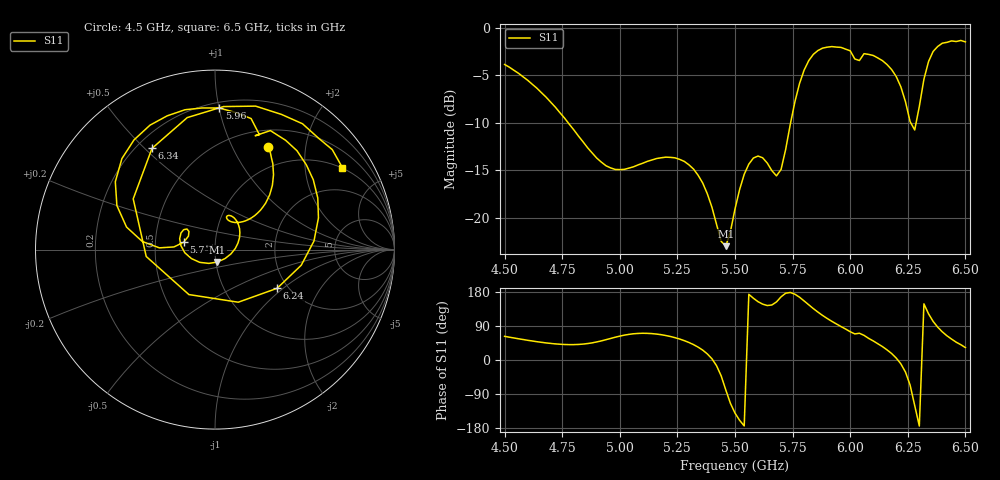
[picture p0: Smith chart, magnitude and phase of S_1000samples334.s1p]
! TOUCHSTONE file generated by CST MICROWAVE STUDIO
! Date and time: Thu Oct 27 19:47:11 2022
! Project name: L.cst
! Parameters = {Di=1.27; Epsilon_r=1.56; InnerDiameter=1.27; Length=2; Lf=10; Lg=60; OuterConductorThickness=0.2921; OuterDiameter=3.6; Wf=3; Wp=41.2; de=1.5; df=6.8; g=0.8; gx=1.51494; gy=2.69219; h=2.34; hf=1.524; px=13.3775; py=9.80388; w=9.7; wx=11.8625; wy=7.11169}
! Header version: 2018
! Port assignment regex: !\s*Touchstone port\s*([0-9]+)\s*=\s*(CST MWS port|CST DS port)\s*([0-9]+|Zmin|Zmax)\s*\(\"(.*)\"\)(\s*mode\s*([0-9]+))?.*
! Touchstone port assignment:
! Touchstone port 1 = CST MWS port 1 ("")
# GHz S DB R 50
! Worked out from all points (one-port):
!   101 points, 4.5 GHz to 6.5 GHz, reference 50 ohm
!   lowest |S11| = -23.0 dB at 5.46 GHz (marker M1), VSWR 1.15, Z = 50.9 - j7.09 ohm
!   |S11| at or under -10 dB: 4.776 GHz to 5.741 GHz (965.7 MHz wide, 18.4 % of centre); 6.262648 GHz to 6.286166 GHz (23.52 MHz wide, 0.375 % of centre)
!   S11 on the Smith chart (normalised r, x): 4.5 GHz: 0.72, +1.39; 5.7 GHz: 0.70, +0.06; 5.96 GHz: 0.24, +1.00; 6.24 GHz: 1.76, -0.91; 6.34 GHz: 0.26, +0.53; 6.5 GHz: 0.98, +3.12
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4.5  -3.86 62.5
4.76  -9.51 40.9
5  -14.95 63.0
5.26  -13.87 55.3
5.36  -16.37 26.0
5.46  -23.02 -79.0
5.5  -19.10 -140.1
5.58  -13.72 162.9
5.7  -14.93 166.7
5.76  -7.79 173.6
5.8  -4.45 155.8
5.84  -2.79 135.6
5.9  -2.03 109.7
5.96  -2.05 88.3
6  -2.41 74.6
6.04  -3.44 70.6
6.08  -2.79 57.1
6.16  -3.87 26.7
6.2  -5.14 5.0
6.24  -7.79 -31.9
6.26  -9.88 -66.2
6.28  -10.76 -120.1
6.3  -8.29 -174.3
6.32  -5.41 148.2
6.34  -3.55 121.9
6.36  -2.48 101.9
6.4  -1.61 74.2
6.5  -1.47 32.8
